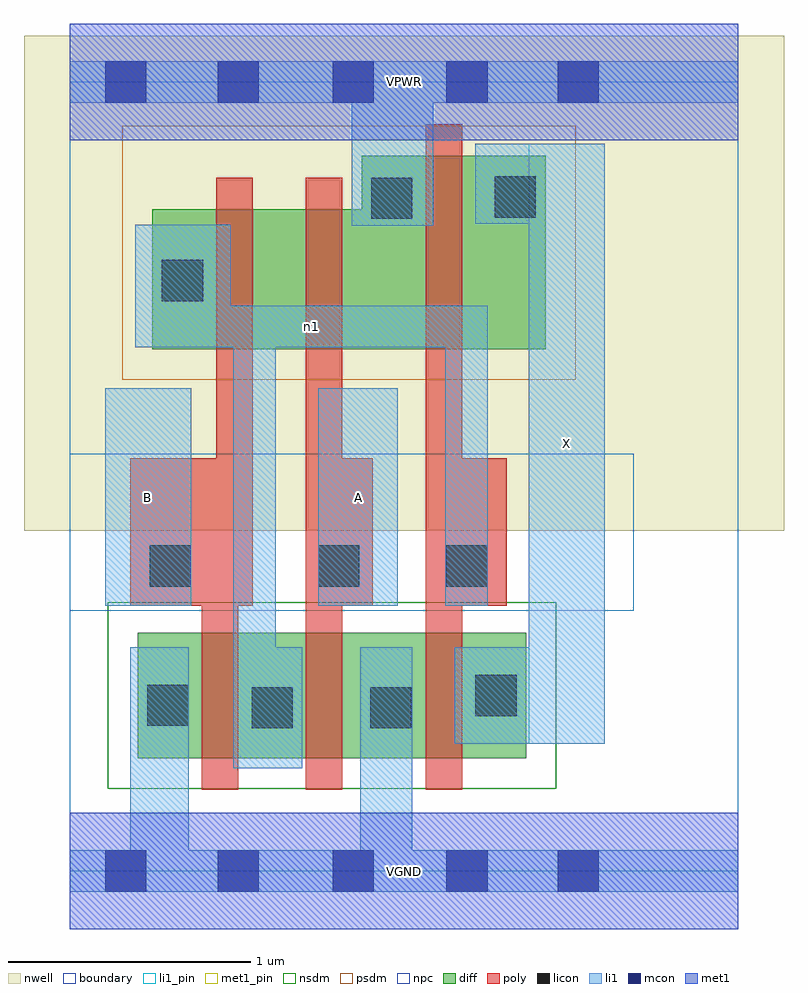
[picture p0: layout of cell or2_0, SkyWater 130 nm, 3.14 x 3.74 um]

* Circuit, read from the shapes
.subckt or2_0 A B VGND VPWR X n1
XM1 n1 B VGND VSUBS sky130_fd_pr__nfet_01v8 w=0.52 l=0.15
XM2 VGND A n1 VSUBS sky130_fd_pr__nfet_01v8 w=0.52 l=0.15
XM3 X n1 VGND VSUBS sky130_fd_pr__nfet_01v8 w=0.52 l=0.15
XM4 n2 B n1 n3 sky130_fd_pr__pfet_01v8 w=0.58 l=0.15
XM5 VPWR A n2 n3 sky130_fd_pr__pfet_01v8 w=0.58 l=0.15
XM6 X n1 VPWR n3 sky130_fd_pr__pfet_01v8 w=0.8 l=0.15
.ends

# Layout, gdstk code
import gdstk
lib = gdstk.Library(unit=1e-6, precision=1e-09)
def R(c, l, rs):  # rectangles x0, y0, x1, y1
    for r in rs: c.add(gdstk.rectangle(r[:2], r[2:], *l))
nwell = (64, 20)
diff = (65, 20)
poly = (66, 20)
licon = (66, 44)
li1_pin = (67, 16)
li1 = (67, 20)
mcon = (67, 44)
met1_pin = (68, 16)
met1 = (68, 20)
nsdm = (93, 44)
psdm = (94, 20)
npc = (95, 20)
boundary = (235, 4)

or2_0 = lib.new_cell('or2_0')
R(or2_0, nwell, [(-0.19,1.405,2.95,3.45), (0,1.405,2.76,3.45)])
R(or2_0, diff, [(0.28,0.465,1.885,0.985), (0.34,2.155,1.965,2.735), (1.205,2.155,1.965,2.955)])
R(or2_0, poly, [(0.545,0.335,0.695,1.705), (0.975,0.335,1.125,2.865), (1.47,0.335,1.62,3.085), (0.25,1.095,0.755,1.705), (0.605,1.095,0.755,2.865), (0.975,1.095,1.25,1.705), (1.47,1.095,1.805,1.705)])
R(or2_0, licon, [(0.75,0.59,0.92,0.76), (1.24,0.59,1.41,0.76), (0.32,0.6,0.49,0.77), (1.675,0.64,1.845,0.81), (0.33,1.175,0.5,1.345), (1.025,1.175,1.195,1.345), (1.555,1.175,1.725,1.345), (0.38,2.355,0.55,2.525), (1.245,2.695,1.415,2.865), (1.755,2.7,1.925,2.87)])
R(or2_0, li1_pin, [(1.895,0.525,2.21,3.005), (0.145,1.095,0.5,1.995), (1.025,1.095,1.355,1.995)])
R(or2_0, li1, [(0,-0.085,2.76,0.085), (0.25,-0.085,0.49,0.925), (1.2,-0.085,1.415,0.925), (0.675,0.425,0.85,2.335), (0.675,0.425,0.96,0.925), (1.59,0.525,2.21,0.925), (1.895,0.525,2.21,3.005), (0.145,1.095,0.5,1.995), (1.025,1.095,1.355,1.995), (1.55,1.095,1.725,2.335), (0.27,2.165,1.725,2.335), (0.27,2.165,0.665,2.67), (1.165,2.665,1.5,3.345), (1.675,2.675,2.21,3.005), (0,3.175,2.76,3.345)])
R(or2_0, mcon, [(0.145,-0.085,0.315,0.085), (0.61,-0.085,0.78,0.085), (1.085,-0.085,1.255,0.085), (1.555,-0.085,1.725,0.085), (2.015,-0.085,2.185,0.085), (0.145,3.175,0.315,3.345), (0.61,3.175,0.78,3.345), (1.085,3.175,1.255,3.345), (1.555,3.175,1.725,3.345), (2.015,3.175,2.185,3.345)])
R(or2_0, met1_pin, [(0,-0.24,2.76,0.24), (0,3.02,2.76,3.5)])
R(or2_0, met1, [(0,-0.24,2.76,0.24), (0,3.02,2.76,3.5)])
R(or2_0, nsdm, [(0.155,0.34,2.01,1.11)])
R(or2_0, psdm, [(0.215,2.03,2.09,3.08)])
R(or2_0, npc, [(0,1.075,2.33,1.725)])
R(or2_0, boundary, [(0,0,2.76,3.26)])
or2_0.add(gdstk.Label('A', (1.19,1.545), layer=67, texttype=5))
or2_0.add(gdstk.Label('B', (0.322,1.545), layer=67, texttype=5))
or2_0.add(gdstk.Label('X', (2.052,1.765), layer=67, texttype=5))
or2_0.add(gdstk.Label('n1', (0.997,2.25), layer=67, texttype=5))
or2_0.add(gdstk.Label('VPWR', (1.38,3.26), layer=68, texttype=5))
or2_0.add(gdstk.Label('VGND', (1.38,0), layer=68, texttype=5))
or2_0.add(gdstk.Label('A', (1.19,1.545), layer=67, texttype=16))
or2_0.add(gdstk.Label('B', (0.322,1.545), layer=67, texttype=16))
or2_0.add(gdstk.Label('X', (2.052,1.765), layer=67, texttype=16))
or2_0.add(gdstk.Label('VPWR', (1.38,3.26), layer=68, texttype=16))
or2_0.add(gdstk.Label('VGND', (1.38,0), layer=68, texttype=16))

lib.write_gds('or2_0.gds')
